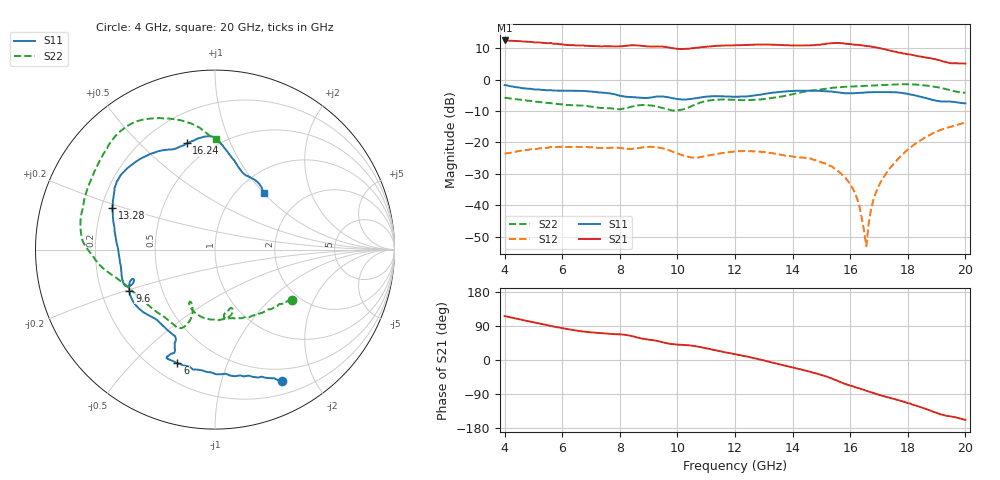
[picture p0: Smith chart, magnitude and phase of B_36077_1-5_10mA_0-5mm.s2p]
!Agilent Technologies,E8364A,US41440284,A.06.04.32
!Agilent E8364A: A.06.04.32
!Date: Wednesday, May 24, 2023 11:13:24
!Correction: S11(Full 2 Port(1,2)) S21(Full 2 Port(1,2)) S12(Full 2 Port(1,2)) S22(Full 2 Port(1,2))
!S2P File: Measurements: S11, S21, S12, S22:
# Hz S  RI  R 50
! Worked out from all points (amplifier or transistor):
!   201 points, 4 GHz to 20 GHz, reference 50 ohm
!   highest |S21| = 12.5 dB at 4 GHz (marker M1)
!   |S21| within 3 dB of that: start of sweep to 17.29 GHz
!   unconditionally stable (mu >= 1): 7.256 GHz to 11.72 GHz; 15.86 GHz to 17.72 GHz; 19.18 GHz to end of sweep
!   at 6.64 GHz: K = 0.82, MSG = 16.2 dB, |S12| = -21.5 dB
!   at 12 GHz: K = 0.98, MSG = 16.9 dB, |S12| = -22.9 dB
!   at 20 GHz: K = 1.05, MAG = 8.0 dB, |S12| = -13.6 dB
!   S11 on the Smith chart (normalised r, x): 4 GHz: 0.36, -1.58; 6 GHz: 0.30, -0.68; 9.6 GHz: 0.32, -0.20; 13.28 GHz: 0.25, +0.19; 16.24 GHz: 0.37, +0.70; 20 GHz: 1.31, +1.01
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4e9  0.3722 -0.7294  -1.829 3.782  0.0372 0.0541  0.4281 -0.281
4.88e9  0.1121 -0.7059  -0.8096 3.914  0.0492 0.0598  0.3223 -0.3271
6e9  -0.2097 -0.6329  0.378 3.633  0.066 0.0546  0.1215 -0.3842
6.72e9  -0.2701 -0.6031  0.8899 3.388  0.0715 0.0465  0.0529 -0.3818
8.08e9  -0.218 -0.4989  1.312 3.131  0.0689 0.042  0.0954 -0.3278
8.4e9  -0.2392 -0.4696  1.568 3.155  0.0657 0.0435  0.0935 -0.3582
9.36e9  -0.445 -0.3058  2.186 2.554  0.0745 0.0358  -0.1155 -0.3482
9.6e9  -0.4771 -0.2289  2.335 2.325  0.0721 0.0295  -0.1409 -0.3109
1.04e10  -0.4533 -0.1789  2.424 1.952  0.0531 0.0256  -0.1243 -0.3402
1.096e10  -0.4918 -0.2051  2.832 1.749  0.048 0.0363  -0.1618 -0.4211
1.2e10  -0.5251 -0.0899  3.387 0.9313  0.0536 0.0477  -0.2372 -0.4117
1.328e10  -0.5714 0.2337  3.566 -0.4093  0.0534 0.0412  -0.4438 -0.2457
1.472e10  -0.4972 0.4447  2.933 -1.965  0.0437 0.0301  -0.6734 -0.0468
1.536e10  -0.3608 0.5332  2.519 -2.851  0.0373 0.0182  -0.7369 0.047
1.576e10  -0.2461 0.5578  1.815 -3.323  0.0275 0.00986  -0.7498 0.152
1.624e10  -0.1578 0.5918  1.037 -3.435  0.0125 0.00216  -0.7248 0.2934
1.656e10  -0.1027 0.6158  0.526 -3.384  0.000114 -0.00222  -0.6922 0.3856
1.68e10  -0.0678 0.6267  0.17 -3.291  -0.0109 -0.00465  -0.6624 0.4526
1.736e10  -0.0259 0.6311  -0.4766 -2.885  -0.0367 -0.00997  -0.5919 0.5835
1.888e10  0.1354 0.4523  -1.553 -1.474  -0.1401 0.0029  -0.2635 0.7306
1.936e10  0.2013 0.3999  -1.586 -1.001  -0.1685 0.0292  -0.11 0.6917
2e10  0.2726 0.317  -1.67 -0.6676  -0.2 0.0595  0.00788 0.6155
